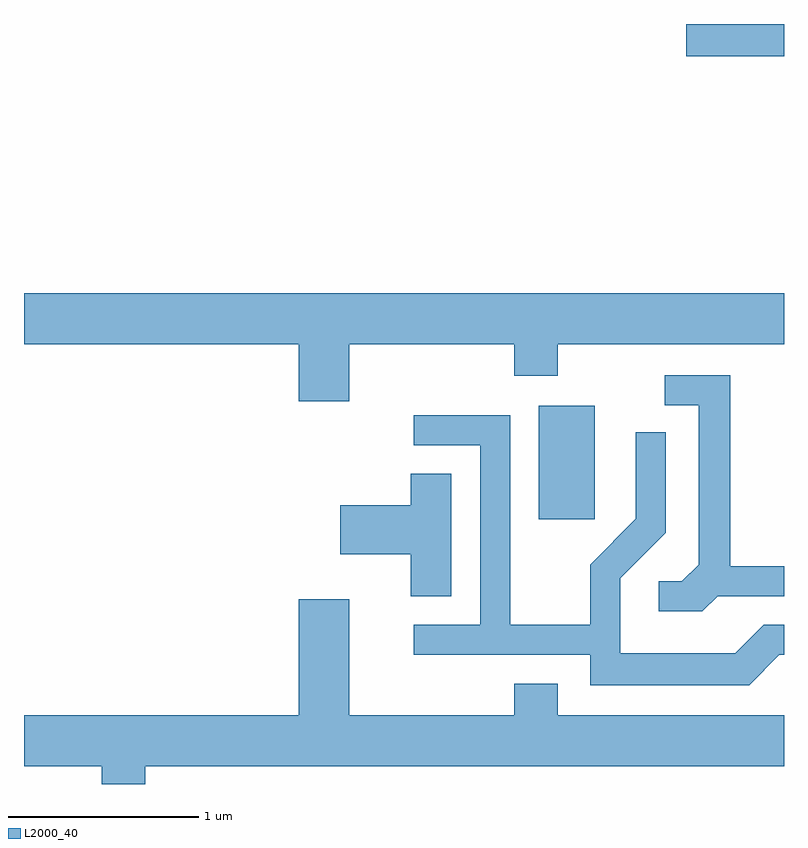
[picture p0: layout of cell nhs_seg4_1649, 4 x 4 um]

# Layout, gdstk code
import gdstk
lib = gdstk.Library(unit=1e-6, precision=1e-09)
def R(c, l, rs):  # rectangles x0, y0, x1, y1
    for r in rs: c.add(gdstk.rectangle(r[:2], r[2:], *l))
def P(c, l, *ps):  # polygons
    for p in ps: c.add(gdstk.Polygon(p, *l))
L2000_40 = (2000, 40)

nhs_seg4_1649 = lib.new_cell('nhs_seg4_1649')
R(nhs_seg4_1649, L2000_40, [(236.321,1289.376,236.614,1289.974), (237.096,1291.811,237.611,1291.982)])
P(nhs_seg4_1649, L2000_40, [(235.324,1290.296),(236.191,1290.296),(236.191,1290.131),(236.419,1290.131),(236.419,1290.296),(237.611,1290.296),(237.611,1290.564),(233.611,1290.564),(233.611,1290.296),(235.056,1290.296),(235.056,1289.996),(235.324,1289.996)],
  [(237.262,1288.971),(237.611,1288.971),(237.611,1289.129),(237.329,1289.129),(237.329,1290.134),(236.983,1290.134),(236.983,1289.976),(237.161,1289.976),(237.161,1289.137),(237.074,1289.049),(236.953,1289.049),(236.953,1288.891),(237.182,1288.891)],
  [(237.587,1288.661),(237.611,1288.661),(237.611,1288.819),(237.504,1288.819),(237.354,1288.669),(236.749,1288.669),(236.749,1289.064),(236.989,1289.304),(236.989,1289.833),(236.831,1289.833),(236.831,1289.377),(236.591,1289.137),(236.591,1288.819),(236.169,1288.819),(236.169,1289.924),(235.663,1289.924),(235.663,1289.766),(236.011,1289.766),(236.011,1288.819),(235.663,1288.819),(235.663,1288.661),(236.591,1288.661),(236.591,1288.501),(237.427,1288.501)],
  [(235.859,1289.614),(235.646,1289.614),(235.646,1289.449),(235.276,1289.449),(235.276,1289.191),(235.646,1289.191),(235.646,1288.971),(235.859,1288.971)],
  [(234.249,1288.076),(237.611,1288.076),(237.611,1288.344),(236.419,1288.344),(236.419,1288.509),(236.191,1288.509),(236.191,1288.344),(235.324,1288.344),(235.324,1288.954),(235.056,1288.954),(235.056,1288.344),(233.611,1288.344),(233.611,1288.076),(234.021,1288.076),(234.021,1287.982),(234.249,1287.982)])

lib.write_gds('nhs_seg4_1649.gds')
